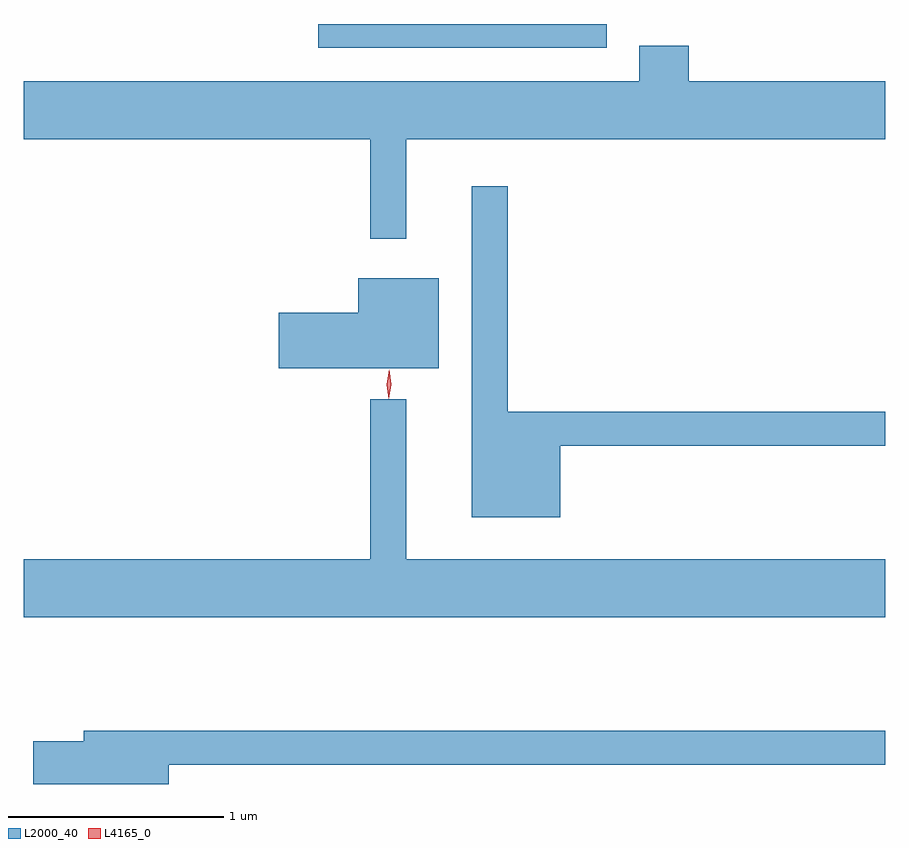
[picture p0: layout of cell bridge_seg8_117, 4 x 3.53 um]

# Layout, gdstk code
import gdstk
lib = gdstk.Library(unit=1e-6, precision=1e-09)
def R(c, l, rs):  # rectangles x0, y0, x1, y1
    for r in rs: c.add(gdstk.rectangle(r[:2], r[2:], *l))
def P(c, l, *ps):  # polygons
    for p in ps: c.add(gdstk.Polygon(p, *l))
L2000_40 = (2000, 40)
L4165_0 = (4165, 0)

bridge_seg8_117 = lib.new_cell('bridge_seg8_117')
R(bridge_seg8_117, L2000_40, [(1716.938,1872.361,1718.279,1872.471)])
P(bridge_seg8_117, L2000_40, [(1717.349,1871.936),(1719.572,1871.936),(1719.572,1872.204),(1718.659,1872.204),(1718.659,1872.369),(1718.431,1872.369),(1718.431,1872.204),(1715.572,1872.204),(1715.572,1871.936),(1717.181,1871.936),(1717.181,1871.473),(1717.349,1871.473)],
  [(1718.064,1870.511),(1719.572,1870.511),(1719.572,1870.669),(1717.819,1870.669),(1717.819,1871.718),(1717.651,1871.718),(1717.651,1870.181),(1718.064,1870.181)],
  [(1717.499,1871.289),(1717.126,1871.289),(1717.126,1871.129),(1716.756,1871.129),(1716.756,1870.871),(1717.499,1870.871)],
  [(1719.572,1869.984),(1717.349,1869.984),(1717.349,1870.728),(1717.181,1870.728),(1717.181,1869.984),(1715.572,1869.984),(1715.572,1869.716),(1719.572,1869.716)],
  [(1716.244,1869.031),(1719.572,1869.031),(1719.572,1869.189),(1715.851,1869.189),(1715.851,1869.139),(1715.616,1869.139),(1715.616,1868.941),(1716.244,1868.941)])
P(bridge_seg8_117, L4165_0, [(1717.266,1870.73),(1717.258,1870.798),(1717.268,1870.866),(1717.268,1870.866),(1717.269,1870.866),(1717.278,1870.798),(1717.267,1870.73),(1717.267,1870.73)],
  [(1717.266,1870.733),(1717.258,1870.796),(1717.268,1870.859),(1717.269,1870.86),(1717.269,1870.859),(1717.278,1870.796),(1717.267,1870.733),(1717.267,1870.733)])

lib.write_gds('bridge_seg8_117.gds')
